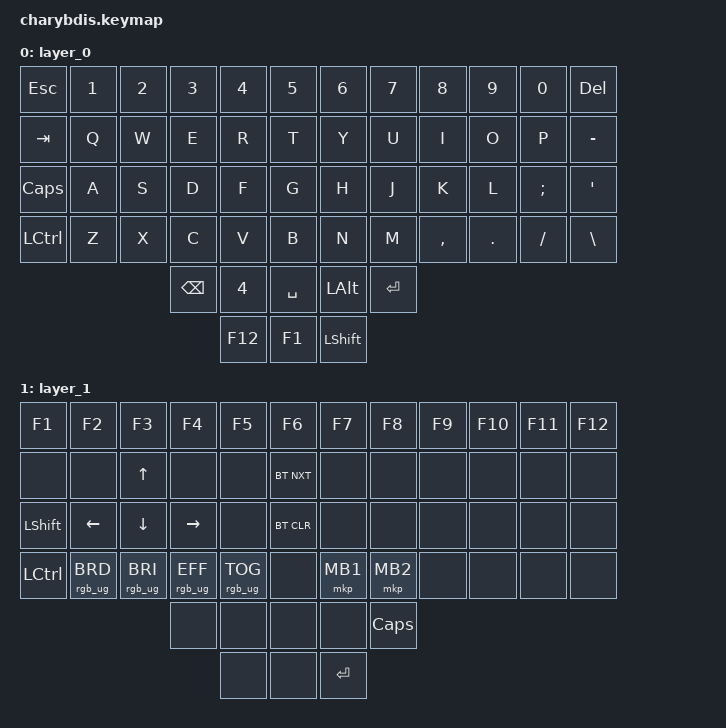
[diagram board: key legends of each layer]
#include <dt-bindings/zmk/mouse.h>
#include <behaviors.dtsi>
#include <dt-bindings/zmk/bt.h>
#include <dt-bindings/zmk/keys.h>

#include <dt-bindings/zmk/outputs.h>
#include <dt-bindings/zmk/rgb.h>
#include <dt-bindings/zmk/ext_power.h>


&lt {
    tapping-term-ms = <200>;
    flavor = "balanced";
    quick-tap-ms = <150>;
};

/ {
    keymap {
        compatible = "zmk,keymap";

        layer_0 {
            bindings = <
&kp ESC         &kp N1  &kp N2  &kp N3        &kp N4     &kp N5      &kp N6         &kp N7    &kp N8       &kp N9      &kp N0    &kp DEL
&kp TAB         &kp Q   &kp W   &kp E         &kp R      &kp T       &kp Y          &kp U     &kp I        &kp O       &kp P     &kp MINUS
&kp CAPSLOCK    &kp A   &kp S   &kp D         &kp F      &kp G       &kp H          &kp J     &kp K        &kp L       &kp SEMI  &kp SQT
&kp LCTRL       &kp Z   &kp X   &kp C         &kp V      &kp B       &kp N          &kp M     &kp COMMA    &kp PERIOD  &kp FSLH  &kp BSLH
                               &kp BACKSPACE  &kp N4  &kp SPACE     &kp LEFT_ALT &kp ENTER  
                                              &kp F12 &kp F1     &kp LEFT_SHIFT
            >;

            trackball-bindings = <&tmv_coarse>;
        };

        layer_1 {
            bindings = <
&kp F1          &kp F2              &kp F3            &kp F4           &kp F5           &kp F6        &kp F7     &kp F8    &kp F9    &kp F10   &kp F11   &kp F12
&none           &none               &kp UP            &none            &none            &bt BT_NXT    &none      &none     &none     &none     &none     &none
&kp LEFT_SHIFT  &kp LEFT            &kp DOWN          &kp RIGHT        &none            &bt BT_CLR    &none      &none     &none     &none      &none     &none
&kp LCTRL       &rgb_ug RGB_BRD     &rgb_ug RGB_BRI   &rgb_ug RGB_EFF  &rgb_ug RGB_TOG  &none         &mkp MB1   &mkp MB2   &none     &none      &none     &none
                                                     &none             &none            &none         &none       &kp CAPS
                                                                       &none            &none         &kp ENTER 
            >;
            trackball-bindings = <&tmv_coarse>;
        };

         /* layer_2 {
            bindings = <
&none  &none   &none    &none   &none         &none         &kp N1         &none         &none     &none  &none   &to 0
&none  &none   &none    &none   &none         &none         &none         &none          &rgb_ug RGB_BRD &rgb_ug RGB_BRI  &rgb_ug RGB_EFF   &rgb_ug RGB_TOG
&none  &none   &none    &none   &none         &none         &none         &mkp LCLK     &mkp RCLK  &none  &none   &none
&none  &none   &none    &none   &bt BT_NXT  &bt BT_CLR    &none         &none         &none     &none  &none   &none
                                   &none         &none         &none         &none         &none
                                                 &none         &none         &none
            >;
          trackball-bindings = <&tsl>;
            
        };

       Mouse {
            bindings = <
&none        &none         &none         &none         &none      &none         &none       &none      &none         &none         &none         &none
&none        &bt BT_SEL 0  &bt BT_SEL 1  &bt BT_SEL 3  &none      &bt BT_CLR    &bt BT_CLR  &none      &bt BT_SEL 2  &bt BT_SEL 1  &bt BT_SEL 0  &none
&none        &trans        &trans        &mkp MCLK     &trans     &none         &none       &trans     &mkp MCLK     &trans        &trans        &none
&bootloader  &trans        &mkp RCLK     &mo 4         &mkp LCLK  &mo 5         &mo 5       &mkp LCLK  &mo 4         &mkp RCLK     &trans        &bootloader
                                         &mo 5         &mkp LCLK  &mkp RCLK     &mkp RCLK   &mkp LCLK
                                                       &none      &trans        &trans
            >;

            
        };

        layer_4 {
            bindings = <
&trans  &trans  &trans     &trans     &trans     &trans       &trans     &trans     &trans     &trans     &trans  &trans
&trans  &trans  &trans     &trans     &trans     &trans       &trans     &trans     &trans     &trans     &trans  &trans
&trans  &trans  &trans     &mkp MCLK  &trans     &trans       &trans     &trans     &mkp MCLK  &trans     &trans  &trans
&trans  &trans  &mkp RCLK  &trans     &mkp LCLK  &trans       &trans     &mkp LCLK  &trans     &mkp RCLK  &trans  &trans
                           &trans     &mkp LCLK  &mkp RCLK    &mkp RCLK  &mkp LCLK
                                      &trans     &trans       &trans
            >;
                
                
                trackball-bindings = <&tsl>;
        };

        layer_5 {
            bindings = <
&trans  &trans  &trans     &trans     &trans     &trans       &trans     &trans     &trans     &trans     &trans  &trans
&trans  &trans  &trans     &trans     &trans     &trans       &trans     &trans     &trans     &trans     &trans  &trans
&trans  &trans  &trans     &mkp MCLK  &trans     &trans       &trans     &trans     &mkp MCLK  &trans     &trans  &trans
&trans  &trans  &mkp RCLK  &trans     &mkp LCLK  &trans       &trans     &mkp LCLK  &trans     &mkp RCLK  &trans  &trans
                           &trans     &mkp LCLK  &mkp RCLK    &mkp RCLK  &mkp LCLK
                                      &trans     &trans       &trans
            >;
                trackball-bindings = <&tmv_fine>;
                
        };*/
    };
};
